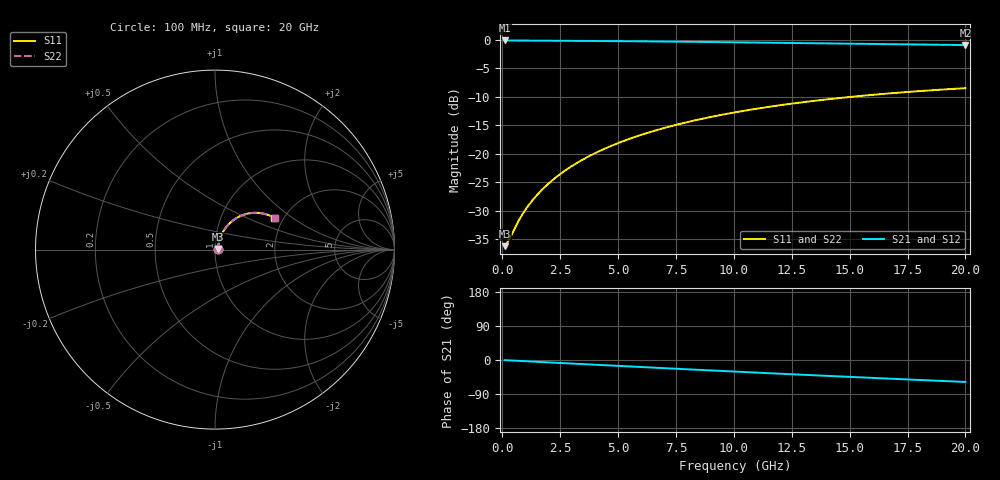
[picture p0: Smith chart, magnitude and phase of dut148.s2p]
! Touchstone file exported from HFSS 2026.1.0
!  File:  C:/ffzhzh/LocalFiles/Ansys_Project_Files/temp_train_TMRDL_148_1782983080_41620.aedt
!  Generated:  05:06:05 PM Jul  2, 2026
!  Design:  TMRDL
!  Project:  temp_train_TMRDL_148_1782983080_41620
! Variables:
!  h_bsmrdl = 2um
!  h_ox = 20um
!  h_rdl = 5um
!  h_sub = 80um
!  h_tmrdl = 2.28um
!  h_tsv = 80um
!  h_via = 3um
!  l_bsmrdl = 300um
!  l_sub = 1397.85um
!  l_tmrdl = 997.85um
!  m_sub = 200um
!  pitch = 18.04um
!  r_tsv = 6um
!  s_tmrdl = 10um
!  w_bsmrdl = 18um
!  w_sub = 500um
!  w_tmrdl = 10.02um
!  x_tsv_center1 = 1002.86um
!  x_tsv_center2 = 1320.86um
!  x_tsv_center3 = 2328.73um
!  x_tsv_center4 = 2646.73um
!  x_tsv_center5 = 3654.6um
!  x_tsv_center6 = 3972.6um
# GHz S MA R 50.000000
! Terminal data exported
! Port[1] = TM_RDL1_1_T1
! Port[2] = TM_RDL1_1_T2
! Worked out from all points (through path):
!   200 points, 100 MHz to 20 GHz, reference 50 ohm
!   highest |S21| = -0.13 dB at 100 MHz (marker M1); lowest = -0.9 dB at 20 GHz (marker M2)
!   group delay of S21, straight-line fit = 8.04 ps
!   lowest |S11| = -36.2 dB at 100 MHz (marker M3), VSWR 1.03, Z = 51.5 + j0.294 ohm
!   |S11| at or under -10 dB: start of sweep to 15.14 GHz
!   |S22| runs from -36.2 to -8.5 dB; largest |S21 - S12| = 4.6e-15
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0.1  0.01541 10.6  0.9849 -0.3  0.9849 -0.3  0.01541 10.6
! Gamma 0 0 0 0
! Port Impedance 50 0 50 0
0.2  0.01634 20.3  0.9847 -0.7  0.9847 -0.7  0.01634 20.3
0.3  0.01774 28.4  0.9845 -1.0  0.9845 -1.0  0.01774 28.4
0.6  0.02348 44.2  0.9836 -2.0  0.9836 -2.0  0.02348 44.2
0.9  0.03 52.3  0.9826 -2.9  0.9826 -2.9  0.03 52.3
1.2  0.03666 57.1  0.9817 -3.9  0.9817 -3.9  0.03666 57.1
1.5  0.04337 60.2  0.9809 -4.8  0.9809 -4.8  0.04337 60.2
1.9  0.05242 62.9  0.98 -6.0  0.98 -6.0  0.05242 62.9
2.4  0.06385 64.8  0.9788 -7.6  0.9788 -7.6  0.06386 64.8
2.9  0.07538 65.7  0.9777 -9.1  0.9777 -9.1  0.07539 65.7
3.5  0.08926 66.1  0.9761 -11.0  0.9761 -11.0  0.08928 66.0
4.2  0.1054 65.7  0.9741 -13.1  0.9741 -13.1  0.1054 65.7
5  0.1237 64.7  0.9716 -15.6  0.9716 -15.6  0.1237 64.7
5.9  0.144 63.2  0.9683 -18.3  0.9683 -18.3  0.144 63.1
6.8  0.1638 61.3  0.9647 -21.0  0.9647 -21.0  0.1638 61.3
8.4  0.1976 57.6  0.9574 -25.8  0.9574 -25.8  0.1976 57.6
10.1  0.2314 53.4  0.9489 -30.8  0.9489 -30.8  0.2314 53.3
11.7  0.2608 49.2  0.9404 -35.4  0.9404 -35.4  0.2609 49.2
13.4  0.2896 44.8  0.9311 -40.2  0.9311 -40.2  0.2897 44.8
15  0.3141 40.7  0.9224 -44.6  0.9224 -44.6  0.3143 40.6
16.7  0.3376 36.3  0.9134 -49.2  0.9134 -49.2  0.3378 36.2
20  0.3755 28.0  0.8975 -57.9  0.8975 -57.9  0.3757 27.9
